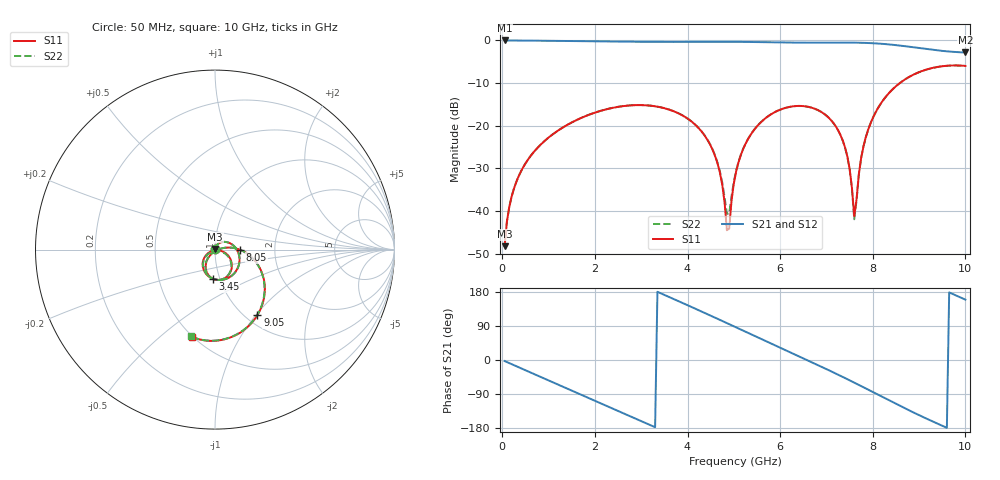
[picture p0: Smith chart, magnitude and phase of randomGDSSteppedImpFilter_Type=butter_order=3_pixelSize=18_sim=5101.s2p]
! freq	dB(S11)	phase(S11)	dB(S12)	phase(S12)
!  dB(S21)	phase(S21)	dB(S22)	phase(S22)
!S-par simulation data
#  GHz  S  DB  R 50
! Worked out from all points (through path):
!   200 points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, 50 MHz to 10 GHz, reference 50 ohm
!   highest |S21| = 0.00 dB at 50 MHz (marker M1); lowest = -2.8 dB at 10 GHz (marker M2)
!   group delay of S21, straight-line fit = 156 ps
!   lowest |S11| = -48.3 dB at 50 MHz (marker M3), VSWR 1.01, Z = 50 + j0.384 ohm
!   |S11| at or under -10 dB: start of sweep to 8.584 GHz
!   |S22| runs from -48.3 to -5.9 dB; largest |S21 - S12| = 0
!   S11 on the Smith chart (normalised r, x): 50 MHz: 1.00, +0.01; 3.45 GHz: 0.93, -0.31; 8.05 GHz: 1.32, -0.00; 9.05 GHz: 1.13, -1.02; 10 GHz: 0.49, -0.64
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0.05  -48.27 84.0  -0.00 -2.8  -0.00 -2.8  -48.26 84.0
0.2  -36.70 76.7  -0.02 -10.9  -0.02 -10.9  -36.70 76.8
0.5  -28.86 62.0  -0.04 -27.0  -0.04 -27.0  -28.85 62.2
1.75  -17.96 -3.9  -0.18 -94.3  -0.18 -94.3  -17.96 -3.5
2.65  -15.35 -51.9  -0.30 -142.5  -0.30 -142.5  -15.35 -51.2
3.4  -15.64 -91.7  -0.34 177.2  -0.34 177.2  -15.63 -90.7
3.45  -15.76 -94.4  -0.34 174.5  -0.34 174.5  -15.75 -93.4
4.5  -24.70 -148.4  -0.31 117.0  -0.31 117.0  -24.63 -144.7
4.75  -33.87 -154.0  -0.31 103.0  -0.31 103.0  -33.35 -143.9
4.85  -44.53 -120.2  -0.31 97.4  -0.31 97.4  -40.69 -106.4
4.9  -44.18 -41.2  -0.31 94.6  -0.31 94.6  -40.59 -58.2
5.05  -30.73 -11.7  -0.32 86.1  -0.32 86.1  -30.51 -19.2
5.65  -18.55 -38.5  -0.40 52.2  -0.40 52.2  -18.54 -40.4
6.7  -15.84 -95.1  -0.53 -6.8  -0.53 -6.8  -15.84 -96.0
7.35  -23.43 -128.1  -0.50 -44.6  -0.50 -44.6  -23.44 -129.2
7.5  -30.09 -129.0  -0.51 -53.6  -0.51 -53.6  -30.13 -130.9
7.6  -41.27 -80.3  -0.52 -59.7  -0.52 -59.7  -41.96 -82.8
7.75  -27.52 10.4  -0.55 -68.9  -0.55 -68.9  -27.56 10.9
8.05  -17.10 -0.3  -0.68 -87.7  -0.68 -87.7  -17.10 -0.5
8.35  -12.34 -17.3  -0.93 -106.4  -0.93 -106.4  -12.35 -17.6
9.05  -7.23 -57.1  -1.86 -148.4  -1.86 -148.4  -7.23 -57.5
10  -5.98 -105.0  -2.83 159.3  -2.83 159.3  -5.99 -105.6
